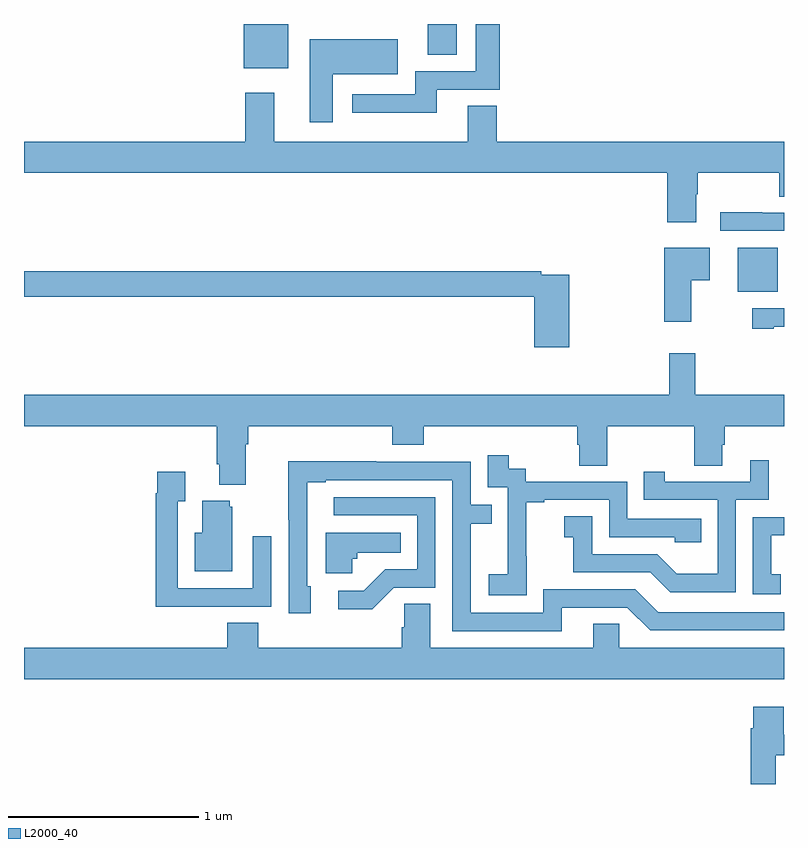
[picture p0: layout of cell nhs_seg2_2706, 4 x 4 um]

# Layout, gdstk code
import gdstk
lib = gdstk.Library(unit=1e-6, precision=1e-09)
def R(c, l, rs):  # rectangles x0, y0, x1, y1
    for r in rs: c.add(gdstk.rectangle(r[:2], r[2:], *l))
def P(c, l, *ps):  # polygons
    for p in ps: c.add(gdstk.Polygon(p, *l))
L2000_40 = (2000, 40)

nhs_seg2_2706 = lib.new_cell('nhs_seg2_2706')
R(nhs_seg2_2706, L2000_40, [(256.757,600.392,256.966,600.622), (254.156,601.568,254.392,601.8), (255.125,601.638,255.277,601.8)])
P(nhs_seg2_2706, L2000_40, [(255.172,601.455),(255.503,601.455),(255.503,601.8),(255.377,601.8),(255.377,601.551),(255.059,601.551),(255.059,601.431),(254.727,601.431),(254.727,601.334),(255.172,601.334)],
  [(254.626,601.535),(254.968,601.535),(254.968,601.72),(254.504,601.72),(254.504,601.284),(254.626,601.284)],
  [(256.537,600.904),(256.545,600.904),(256.545,601.016),(256.975,601.016),(256.975,600.892),(257,600.892),(257,601.18),(255.488,601.18),(255.488,601.37),(255.335,601.37),(255.335,601.18),(254.317,601.18),(254.317,601.438),(254.165,601.438),(254.165,601.18),(253,601.18),(253,601.016),(256.385,601.016),(256.385,600.756),(256.537,600.756)],
  [(257,600.807),(256.886,600.807),(256.886,600.809),(256.665,600.809),(256.665,600.711),(257,600.711)],
  [(256.512,600.452),(256.609,600.452),(256.609,600.622),(256.37,600.622),(256.37,600.234),(256.512,600.234)],
  [(255.869,600.48),(255.722,600.48),(255.722,600.5),(253,600.5),(253,600.364),(255.686,600.364),(255.686,600.099),(255.869,600.099)],
  [(256.945,600.206),(257,600.206),(257,600.303),(256.833,600.303),(256.833,600.195),(256.945,600.195)],
  [(254.167,599.588),(254.18,599.588),(254.18,599.684),(254.939,599.684),(254.939,599.585),(255.104,599.585),(255.104,599.684),(255.911,599.684),(255.911,599.586),(255.923,599.586),(255.923,599.476),(256.071,599.476),(256.071,599.684),(256.528,599.684),(256.528,599.476),(256.675,599.476),(256.675,599.586),(256.688,599.586),(256.688,599.684),(257,599.684),(257,599.848),(256.532,599.848),(256.532,600.067),(256.396,600.067),(256.396,599.848),(253,599.848),(253,599.684),(254.015,599.684),(254.015,599.482),(254.027,599.482),(254.027,599.375),(254.167,599.375)],
  [(255.645,598.999),(255.644,598.999),(255.644,599.283),(255.739,599.283),(255.739,599.295),(256.08,599.295),(256.08,599.1),(256.425,599.1),(256.425,599.073),(256.565,599.073),(256.565,599.196),(256.176,599.196),(256.176,599.391),(255.642,599.391),(255.642,599.46),(255.55,599.46),(255.55,599.53),(255.441,599.53),(255.441,599.361),(255.546,599.361),(255.546,599.132),(255.545,599.132),(255.545,598.903),(255.447,598.903),(255.447,598.793),(255.645,598.793)],
  [(256.746,599.295),(256.92,599.295),(256.92,599.503),(256.823,599.503),(256.823,599.391),(256.372,599.391),(256.372,599.443),(256.261,599.443),(256.261,599.295),(256.65,599.295),(256.65,598.906),(256.436,598.906),(256.332,599.01),(255.99,599.01),(255.99,599.209),(255.843,599.209),(255.843,599.099),(255.892,599.099),(255.892,598.914),(256.295,598.914),(256.4,598.809),(256.746,598.809)],
  [(255.829,598.728),(256.176,598.728),(256.296,598.608),(257,598.608),(257,598.704),(256.338,598.704),(256.218,598.824),(255.732,598.824),(255.732,598.701),(255.351,598.701),(255.351,599.17),(255.461,599.17),(255.461,599.271),(255.351,599.271),(255.351,599.496),(254.855,599.496),(254.855,599.498),(254.392,599.498),(254.392,599.191),(254.394,599.191),(254.394,598.698),(254.509,598.698),(254.509,598.842),(254.49,598.842),(254.49,599.388),(254.587,599.388),(254.587,599.4),(255.255,599.4),(255.255,598.605),(255.829,598.605)],
  [(253.985,598.734),(254.301,598.734),(254.301,599.104),(254.205,599.104),(254.205,598.83),(253.809,598.83),(253.809,599.287),(253.849,599.287),(253.849,599.443),(253.701,599.443),(253.701,599.33),(253.693,599.33),(253.693,598.733),(253.985,598.733)],
  [(254.946,598.833),(255.165,598.833),(255.165,599.31),(254.631,599.31),(254.631,599.214),(255.069,599.214),(255.069,598.929),(254.9,598.929),(254.789,598.818),(254.655,598.818),(254.655,598.721),(254.833,598.721)],
  [(254.095,599.259),(254.084,599.259),(254.084,599.29),(253.937,599.29),(253.937,599.122),(253.898,599.122),(253.898,598.919),(254.095,598.919)],
  [(256.982,598.905),(256.933,598.905),(256.933,599.109),(257,599.109),(257,599.205),(256.836,599.205),(256.836,598.8),(256.982,598.8)],
  [(254.727,598.986),(254.754,598.986),(254.754,599.018),(254.984,599.018),(254.984,599.122),(254.588,599.122),(254.588,598.91),(254.727,598.91)],
  [(257,598.516),(256.134,598.516),(256.134,598.643),(255.995,598.643),(255.995,598.516),(255.139,598.516),(255.139,598.748),(255,598.748),(255,598.625),(254.987,598.625),(254.987,598.516),(254.234,598.516),(254.234,598.649),(254.069,598.649),(254.069,598.516),(253,598.516),(253,598.352),(257,598.352)],
  [(256.957,597.951),(257,597.951),(257,598.06),(256.999,598.06),(256.999,598.207),(256.838,598.207),(256.838,598.094),(256.826,598.094),(256.826,597.8),(256.957,597.8)])

lib.write_gds('nhs_seg2_2706.gds')
